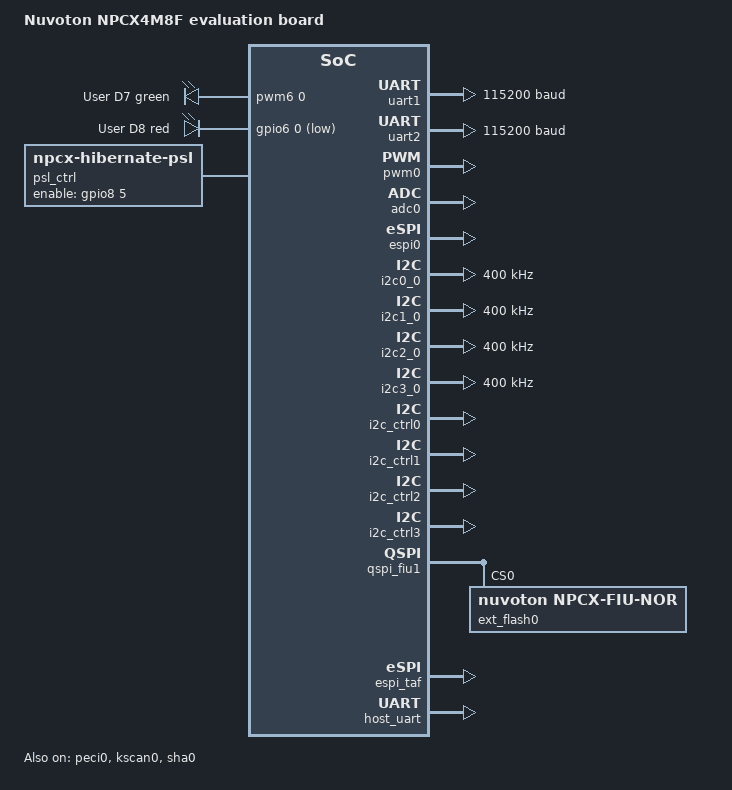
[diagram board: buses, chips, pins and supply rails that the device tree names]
/*****************************************************************************
 * Copyright (C) 2023 Advanced Micro Devices, Inc. All rights reserved.
 *
 *****************************************************************************
*/

/dts-v1/;

#include <nuvoton/npcx4m8f.dtsi>
#include <nuvoton/npcx/npcx4/npcx4-pinctrl.dtsi>


/ {
	model = "Nuvoton NPCX4M8F evaluation board";
	flash2: flash@10070400 {
		reg = <0x10070400 DT_SIZE_K(384)>;
	};

	chosen {
		zephyr,sram = &sram0;
		zephyr,console = &uart2;
		zephyr,flash = &flash2;
		zephyr,keyboard-scan = &kscan0;
		zephyr,shell-uart = &uart2;

	};
	aliases {
		pwm-led0 = &pwm_led0_green;
		led0 = &gpio_led_red;
		pwm-0 = &pwm0;
		// i2c-0 = &i2c0_0;
		i2c0 = &i2c0_0;
		i2c1 = &i2c1_0;
		i2c2 = &i2c2_0;
		i2c3 = &i2c3_0;
		watchdog0 = &twd0;
		peci-0 = &peci0;
		spi-flash0 = &int_flash;
		taf-flash = &ext_flash0;
		/* For kscan test suites */
		kscan0 = &kscan0;
	};

	leds-pwm {
		compatible = "pwm-leds";
		pwm_led0_green: pwm_led_0 {
			pwms = <&pwm6 0 PWM_MSEC(20) PWM_POLARITY_INVERTED>;
			label = "User D7 green";
		};
	};

	leds-gpio {
		compatible = "gpio-leds";
		gpio_led_red: led_0 {
			gpios = <&gpio6 0 GPIO_ACTIVE_LOW>;
			label = "User D8 red";
		};
	};
};

/* Overwrite default device properties with overlays in board dt file here. */
&uart1 {
	status = "okay";
	current-speed = <115200>;
	/* Use UART1_SL2 ie. PIN64.65 */
	pinctrl-0 = <&uart1_2_sin_gp64 &uart1_2_sout_gp65>;
	pinctrl-names = "default";
};

/* Overwrite default device properties with overlays in board dt file here. */
&uart2 {
	status = "okay";
	current-speed = <115200>;
	/* Use UART2 ie. PIN75.86 */
	pinctrl-0 = <&uart2_sin_gp75 &uart2_sout_gp86>;
	pinctrl-names = "default";
};

&pwm0 {
	status = "okay";
	pinctrl-0 = <&pwm0_gpc3>;
	pinctrl-names = "default";
};

&bbram {
	status = "okay";  
};

&adc0 {
	status = "okay";
	/* Use adc0 channel 0 and 2 for 'adc_api' driver tests */
	pinctrl-0 = <&adc0_chan0_gp45 &adc0_chan2_gp43>;
	pinctrl-names = "default";
};

&espi0 {
	status = "okay";
	pinctrl-0 = <&espi_lpc_gp46_47_51_52_53_54_55_57>;
	pinctrl-names = "default";
};

&i2c0_0 {
	status = "okay";
	pinctrl-0 = <&i2c0_0_sda_scl_gpb4_b5>;
	pinctrl-names = "default";
	clock-frequency = <I2C_BITRATE_FAST>;
};

&i2c1_0 {
	status = "okay";
	pinctrl-0 = <&i2c1_0_sda_scl_gp87_90>;
	pinctrl-names = "default";
	clock-frequency = <I2C_BITRATE_FAST>;
};

&i2c2_0 {
	status = "okay";
	pinctrl-0 = <&i2c2_0_sda_scl_gp91_92>;
	pinctrl-names = "default";
	clock-frequency = <I2C_BITRATE_FAST>;
};

&i2c3_0 {
	status = "okay";
	pinctrl-0 = <&i2c3_0_sda_scl_gpd0_d1>;
	pinctrl-names = "default";
	clock-frequency = <I2C_BITRATE_FAST>;
};

&i2c_ctrl0 {
	status = "okay";
};

&i2c_ctrl1 {
	status = "okay";
};

&i2c_ctrl2 {
	status = "okay";
};

&i2c_ctrl3 {
	status = "okay";
};


&tach1 {
	status = "disabled";
	pinctrl-0 = <&ta1_1_in_gp40>;
	pinctrl-names = "default";
	port = <NPCX_TACH_PORT_A>;
	sample-clk = <NPCX_TACH_FREQ_LFCLK>;
	pulses-per-round = <1>;
};

&peci0 {
	status = "okay";
	pinctrl-0 = <&peci_dat_gp81>;
	pinctrl-names = "default";
};


/* Add nand flash */
&qspi_fiu1 {
    status = "okay";
    /* en-direct-access-2dev; */
    /* NOR flash */
     ext_flash0: ext_flash0@0 {
        compatible ="nuvoton,npcx-fiu-nor";
        size = <0x40000000>; /* 128 Mbytes */
        max-timeout = <86784>;
        reg = <0>;
        quad-enable-requirements = "S2B1v1";
        status = "okay";
        enter-4byte-addr = <0x85>; 
        /* Config for npcx4 SVB board - CS0 */
        qspi-flags = <NPCX_QSPI_SW_CS0>;
        mapped-addr = <0x68000000>;
        pinctrl-0 = <&fiu_ext_io0_io1_clk_cs_gpa4_96_a2_a0
                 &fiu_ext_quad_io2_io3_gp93_a7
                 &ext_flash_tris_off>;
        pinctrl-names = "default"; 
    };
   ext_flash1: ext_flash1@1 {
        compatible ="nuvoton,npcx-fiu-nor";
        size = <0x20000000>; /* 64 Mbytes */
        max-timeout = <8>;
        reg = <1>;
        quad-enable-requirements = "S2B1v1";
        status = "disabled";
        /* Config for npcx4 SVB board - NPCX_QSPI_SEC_FLASH_SL */
        qspi-flags = <(NPCX_QSPI_SW_CS0|NPCX_QSPI_SEC_FLASH_SL)>;
        mapped-addr = <0x6C000000>;
        pinctrl-0 = <&fiu_ext_io0_io1_clk_cs_gpa4_96_a2_a0
                 &fiu_ext_quad_io2_io3_gp93_a7
                 &ext_flash_tris_off
                 &ext_flash_cs1_sl>;
        pinctrl-names = "default"; 
    };


};
&espi_taf {
    mapped-addr = <0x68000000>;
    max-read-sz = "NPCX_ESPI_TAF_MAX_READ_REQ_64B";
    erase-sz = "NPCX_ESPI_TAF_ERASE_BLOCK_SIZE_4KB";
    status = "okay";
};


&kscan0 {
	/* Demonstrate a 16 x 8 keyboard matrix on evb */
	pinctrl-0 = <&ksi0_gp31 /* KSI0 PIN31 */
		     &ksi1_gp30 /* KSI1 PIN30 */
		     &ksi2_gp27 /* KSI2 PIN27 */
		     &ksi3_gp26 /* KSI3 PIN26 */
		     &ksi4_gp25 /* KSI4 PIN25 */
		     &ksi5_gp24 /* KSI5 PIN24 */
		     &ksi6_gp23 /* KSI6 PIN23 */
		     &ksi7_gp22 /* KSI7 PIN22 */
		     &kso00_gp21 /* KSO00 PIN21 */
		     &kso01_gp20 /* KSO01 PIN20 */
		     &kso02_gp17 /* KSO02 PIN17 */
		     &kso03_gp16 /* KSO03 PIN16 */
		     &kso04_gp15 /* KSO04 PIN15 */
		     &kso05_gp14 /* KSO05 PIN14 */
		     &kso06_gp13 /* KSO06 PIN13 */
		     &kso07_gp12 /* KSO07 PIN12 */
		     &kso08_gp11 /* KSO08 PIN11 */
		     &kso09_gp10 /* KSO09 PIN10 */
		     &kso10_gp07 /* KSO10 PIN07 */
		     &kso11_gp06 /* KSO11 PIN06 */
		     &kso12_gp05 /* KSO12 PIN05 */
		     &kso13_gp04 /* KSO13 PIN04 */
		     &kso14_gp82 /* KSO14 PIN82 */
		     &kso15_gp83 /* KSO15 PIN83 */
		     >;
	pinctrl-names = "default";
	row-size = <8>;
	col-size = <16>;
	status = "okay";

};

&psl_in1_gpd2 {

    psl-in-mode = "level";

    psl-in-pol = "high-rising";

};

/* Power domain device controlled by PSL */
/ {
    psl_ctrl {
        compatible = "npcx-hibernate-psl";
        psl-driven-type = "gpio-driven";
        status = "okay";
        enable-gpios = <&gpio8 5 0>;
        pinctrl-names = "default";
        pinctrl-0 = <&psl_in1_gpd2 &psl_in2_gp00 >;
    };
};

&espi_taf {
	mapped-addr = <0x68000000>;
	max-read-sz = "NPCX_ESPI_TAF_MAX_READ_REQ_64B";
	erase-sz = "NPCX_ESPI_TAF_ERASE_BLOCK_SIZE_4KB";
	status = "okay";
	rpmc-cntr = <4>;
	rpmc-op1-code = <0x9B>;
};

&pinctrl {
	uart2_sout_gp86_disable: periph-uart2-sout-disable {
		pinmux = <&altj_cr_sout2_sl_disable>;
};
};

&host_uart  {
    compatible = "nuvoton,npcx-host-uart";
    pinctrl-0 = <&huart_rxd_gp75 &huart_txd_gp86 &uart2_sout_gp86_disable>;
    pinctrl-names = "default";
    status = "okay";
};

&sha0 {
    status = "okay";
};
